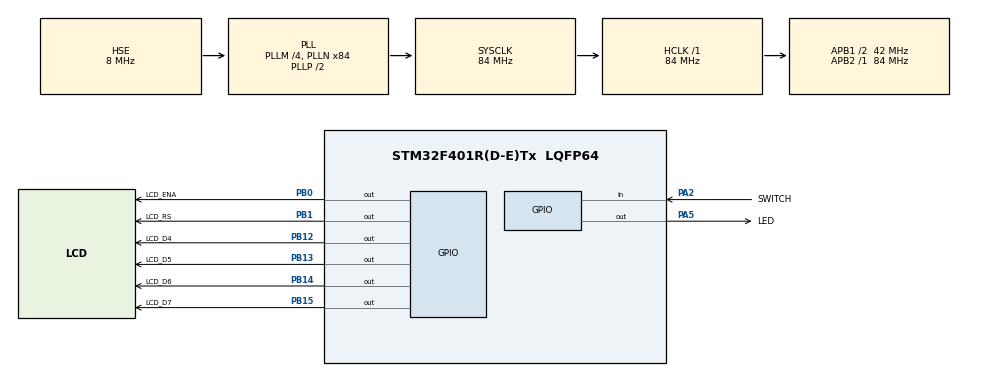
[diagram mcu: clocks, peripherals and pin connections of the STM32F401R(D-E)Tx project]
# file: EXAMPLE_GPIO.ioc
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Mcu.Family=STM32F4
Mcu.Name=STM32F401R(D-E)Tx
Mcu.Package=LQFP64
NVIC.PriorityGroup=NVIC_PRIORITYGROUP_0
PA13.Mode=Serial_Wire
PA13.Signal=SYS_JTMS-SWDIO
PA14.Mode=Serial_Wire
PA14.Signal=SYS_JTCK-SWCLK
PA2.GPIO_Label=SWITCH
PA2.GPIO_PuPd=GPIO_PULLUP
PA2.Signal=GPIO_Input
PA5.GPIO_Label=LED
PA5.Signal=GPIO_Output
PB0.GPIO_Label=LCD_ENA
PB0.Signal=GPIO_Output
PB1.GPIO_Label=LCD_RS
PB1.Signal=GPIO_Output
PB12.GPIO_Label=LCD_D4
PB12.Signal=GPIO_Output
PB13.GPIO_Label=LCD_D5
PB13.Signal=GPIO_Output
PB14.GPIO_Label=LCD_D6
PB14.Signal=GPIO_Output
PB15.GPIO_Label=LCD_D7
PB15.Signal=GPIO_Output
PH0\ -\ OSC_IN.Mode=HSE-External-Clock-Source
PH0\ -\ OSC_IN.Signal=RCC_OSC_IN
PH1\ -\ OSC_OUT.Mode=HSE-External-Clock-Source
PH1\ -\ OSC_OUT.Signal=RCC_OSC_OUT
ProjectManager.HeapSize=0x200
ProjectManager.StackSize=0x400
ProjectManager.TargetToolchain=STM32CubeIDE
RCC.48MHZClocksFreq_Value=24000000
RCC.AHBFreq_Value=84000000
RCC.APB1CLKDivider=RCC_HCLK_DIV2
RCC.APB1Freq_Value=42000000
RCC.APB1TimFreq_Value=84000000
RCC.APB2Freq_Value=84000000
RCC.APB2TimFreq_Value=84000000
RCC.CortexFreq_Value=84000000
RCC.HCLKFreq_Value=84000000
RCC.HSE_VALUE=8000000
RCC.HSI_VALUE=16000000
RCC.LSE_VALUE=32768
RCC.PLLM=4
RCC.PLLN=84
RCC.PLLQ=7
RCC.PLLSourceVirtual=RCC_PLLSOURCE_HSE
RCC.SYSCLKFreq_VALUE=84000000
RCC.SYSCLKSource=RCC_SYSCLKSOURCE_PLLCLK
RCC.VCOOutputFreq_Value=168000000
board=NUCLEO-F401RE

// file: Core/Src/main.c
/* USER CODE BEGIN Header */
/**
  ******************************************************************************
  * @file           : main.c
  * @brief          : Main program body
  ******************************************************************************
  * @attention
  *
  * Copyright (c) 2023 STMicroelectronics.
  * All rights reserved.
  *
  * This software is licensed under terms that can be found in the LICENSE file
  * in the root directory of this software component.
  * If no LICENSE file comes with this software, it is provided AS-IS.
  *
  ******************************************************************************
  */
/* USER CODE END Header */
#include "main.h"
#include "gpio.h"

/* USER CODE BEGIN Includes */
#include "LCD_Library.h"
/* USER CODE END Includes */

/* USER CODE BEGIN PV */
LCD_Struct_t LCD;
LCD_PinType LCD_PIN[] = {LCD_D4_Pin, LCD_D5_Pin, LCD_D6_Pin, LCD_D7_Pin};
LCD_PortType LCD_PORT[] = {LCD_D4_GPIO_Port, LCD_D5_GPIO_Port, LCD_D6_GPIO_Port, LCD_D7_GPIO_Port};
GPIO_PinState PinValue;
/* USER CODE END PV */

void SystemClock_Config(void);

int main(void)
{
  /* USER CODE BEGIN 1 */
	LCD = LCD_Create(LCD_PORT, LCD_PIN, LCD_RS_GPIO_Port, LCD_RS_Pin, LCD_ENA_GPIO_Port, LCD_ENA_Pin);

  /* USER CODE END 1 */

  /* MCU Configuration--------------------------------------------------------*/

  /* Reset of all peripherals, Initializes the Flash interface and the Systick. */
  HAL_Init();

  /* Configure the system clock */
  SystemClock_Config();

  /* Initialize all configured peripherals */
  MX_GPIO_Init();
  /* USER CODE BEGIN 2 */
  LCD_Init(&LCD);
  LCD_Command(&LCD, ClearDisplay);
  LCD_Command(&LCD, ReturnHome);
  LCD_Gotoxy(&LCD, 0, 0);
  LCD_String(&LCD, "....STM32-F401RE....");
  LCD_Gotoxy(&LCD, 0, 1);
  LCD_String(&LCD, "    EXAMPLE GPIO");
  LCD_Gotoxy(&LCD, 0, 2);
  LCD_String(&LCD, " SWITCH PIN STATUS:");
  LCD_Gotoxy(&LCD, 0, 3);
  LCD_String(&LCD, "     'X' LOGICO");
  /* USER CODE END 2 */

  /* Infinite loop */
  /* USER CODE BEGIN WHILE */
  while (1)
  {
	  //Lectura de GPIO INPUT: SWITCH
	  PinValue = HAL_GPIO_ReadPin(SWITCH_GPIO_Port, SWITCH_Pin);

	  LCD_Gotoxy(&LCD, 6, 3);
	  if(PinValue == GPIO_PIN_RESET)
		  LCD_Character(&LCD, '0');
	  else
		  LCD_Character(&LCD, '1');

	  HAL_Delay(100);
    /* USER CODE END WHILE */

  }
}

void SystemClock_Config(void)
{
  RCC_OscInitTypeDef RCC_OscInitStruct = {0};
  RCC_ClkInitTypeDef RCC_ClkInitStruct = {0};

  /** Configure the main internal regulator output voltage
  */
  __HAL_RCC_PWR_CLK_ENABLE();
  __HAL_PWR_VOLTAGESCALING_CONFIG(PWR_REGULATOR_VOLTAGE_SCALE2);

  /** Initializes the RCC Oscillators according to the specified parameters
  * in the RCC_OscInitTypeDef structure.
  */
  RCC_OscInitStruct.OscillatorType = RCC_OSCILLATORTYPE_HSE;
  RCC_OscInitStruct.HSEState = RCC_HSE_BYPASS;
  RCC_OscInitStruct.PLL.PLLState = RCC_PLL_ON;
  RCC_OscInitStruct.PLL.PLLSource = RCC_PLLSOURCE_HSE;
  RCC_OscInitStruct.PLL.PLLM = 4;
  RCC_OscInitStruct.PLL.PLLN = 84;
  RCC_OscInitStruct.PLL.PLLP = RCC_PLLP_DIV2;
  RCC_OscInitStruct.PLL.PLLQ = 7;
  if (HAL_RCC_OscConfig(&RCC_OscInitStruct) != HAL_OK)
  {
    Error_Handler();
  }

  /** Initializes the CPU, AHB and APB buses clocks
  */
  RCC_ClkInitStruct.ClockType = RCC_CLOCKTYPE_HCLK|RCC_CLOCKTYPE_SYSCLK
                              |RCC_CLOCKTYPE_PCLK1|RCC_CLOCKTYPE_PCLK2;
  RCC_ClkInitStruct.SYSCLKSource = RCC_SYSCLKSOURCE_PLLCLK;
  RCC_ClkInitStruct.AHBCLKDivider = RCC_SYSCLK_DIV1;
  RCC_ClkInitStruct.APB1CLKDivider = RCC_HCLK_DIV2;
  RCC_ClkInitStruct.APB2CLKDivider = RCC_HCLK_DIV1;

  if (HAL_RCC_ClockConfig(&RCC_ClkInitStruct, FLASH_LATENCY_2) != HAL_OK)
  {
    Error_Handler();
  }
}

void Error_Handler(void)
{
  __disable_irq();
  while (1)
  {
  }
}
